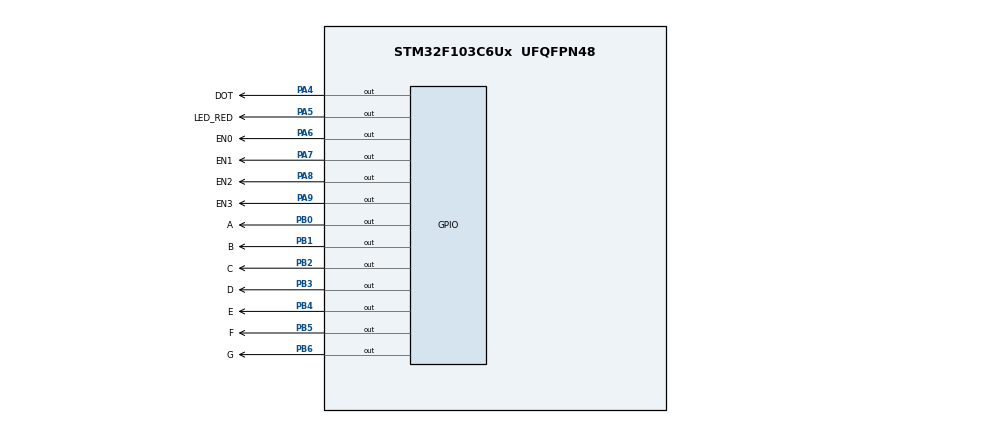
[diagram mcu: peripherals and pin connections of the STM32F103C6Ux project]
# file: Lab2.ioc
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Mcu.Family=STM32F1
Mcu.Name=STM32F103C6Ux
Mcu.Package=UFQFPN48
NVIC.PriorityGroup=NVIC_PRIORITYGROUP_4
NVIC.TIM2_IRQn=true\:0\:0\:false\:false\:true\:true\:true
PA4.GPIO_Label=DOT
PA4.Signal=GPIO_Output
PA5.GPIO_Label=LED_RED
PA5.Signal=GPIO_Output
PA6.GPIO_Label=EN0
PA6.Signal=GPIO_Output
PA7.GPIO_Label=EN1
PA7.Signal=GPIO_Output
PA8.GPIO_Label=EN2
PA8.Signal=GPIO_Output
PA9.GPIO_Label=EN3
PA9.Signal=GPIO_Output
PB0.GPIO_Label=A
PB0.Signal=GPIO_Output
PB1.GPIO_Label=B
PB1.Signal=GPIO_Output
PB2.GPIO_Label=C
PB2.Signal=GPIO_Output
PB3.GPIO_Label=D
PB3.Signal=GPIO_Output
PB4.GPIO_Label=E
PB4.Signal=GPIO_Output
PB5.GPIO_Label=F
PB5.Signal=GPIO_Output
PB6.GPIO_Label=G
PB6.Signal=GPIO_Output
ProjectManager.HeapSize=0x200
ProjectManager.StackSize=0x400
ProjectManager.TargetToolchain=STM32CubeIDE
RCC.APB1Freq_Value=8000000
RCC.APB2Freq_Value=8000000
TIM2.Period=9
TIM2.Prescaler=7999
VP_SYS_VS_ND.Mode=No_Debug
VP_TIM2_VS_ClockSourceINT.Mode=Internal
board=custom

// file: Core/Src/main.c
/* USER CODE BEGIN Header */
/**
  ******************************************************************************
  * @file           : main.c
  * @brief          : Main program body
  ******************************************************************************
  * @attention
  *
  * <h2><center>&copy; Copyright (c) 2022 STMicroelectronics.
  * All rights reserved.</center></h2>
  *
  * This software component is licensed by ST under BSD 3-Clause license,
  * the "License"; You may not use this file except in compliance with the
  * License. You may obtain a copy of the License at:
  *                        opensource.org/licenses/BSD-3-Clause
  *
  ******************************************************************************
  */
/* USER CODE END Header */
#include "main.h"
#include "software_timer.h"
#include "global.h"
#include "display7SEG.h"
#include "updateClockBuffer.h"

TIM_HandleTypeDef htim2;

void SystemClock_Config(void);
static void MX_GPIO_Init(void);
static void MX_TIM2_Init(void);

int main(void)
{

  /* MCU Configuration--------------------------------------------------------*/

  /* Reset of all peripherals, Initializes the Flash interface and the Systick. */
  HAL_Init();

  /* Configure the system clock */
  SystemClock_Config();

  /* Initialize all configured peripherals */
  MX_GPIO_Init();
  MX_TIM2_Init();
  /* USER CODE BEGIN 2 */
  HAL_TIM_Base_Start_IT(&htim2);

  /* USER CODE END 2 */

  /* Infinite loop */
  /* USER CODE BEGIN WHILE */
  setTimer1(25);
  setTimer2(100);
  setTimer3(100);
  updateClockBuffer();
  while (1)
  {
	  if(timer1_flag == 1)
	  {
		  turnOff7SEG();
		  if(index_led >= 4) index_led = 0;
		  update7SEG(index_led++);
		  setTimer1(25);
	  }

	  if(timer2_flag == 1)
	  {
		  HAL_GPIO_TogglePin(DOT_GPIO_Port, DOT_Pin);
		  setTimer2(100);
	  }

	  if(timer3_flag == 1) {
		  second++;
		  if(second >= 60)
		  {
			  second = 0;
			  minute++;
		  }
		  if(minute >= 60)
		  {
			  minute = 0;
			  hour++;
		  }
		  if(hour >= 24)
		  {
			  hour = 0;
		  }
		  updateClockBuffer();
		  setTimer3(100);
	  }
    /* USER CODE END WHILE */

  }
}

void SystemClock_Config(void)
{
  RCC_OscInitTypeDef RCC_OscInitStruct = {0};
  RCC_ClkInitTypeDef RCC_ClkInitStruct = {0};

  /** Initializes the RCC Oscillators according to the specified parameters
  * in the RCC_OscInitTypeDef structure.
  */
  RCC_OscInitStruct.OscillatorType = RCC_OSCILLATORTYPE_HSI;
  RCC_OscInitStruct.HSIState = RCC_HSI_ON;
  RCC_OscInitStruct.HSICalibrationValue = RCC_HSICALIBRATION_DEFAULT;
  RCC_OscInitStruct.PLL.PLLState = RCC_PLL_NONE;
  if (HAL_RCC_OscConfig(&RCC_OscInitStruct) != HAL_OK)
  {
    Error_Handler();
  }
  /** Initializes the CPU, AHB and APB buses clocks
  */
  RCC_ClkInitStruct.ClockType = RCC_CLOCKTYPE_HCLK|RCC_CLOCKTYPE_SYSCLK
                              |RCC_CLOCKTYPE_PCLK1|RCC_CLOCKTYPE_PCLK2;
  RCC_ClkInitStruct.SYSCLKSource = RCC_SYSCLKSOURCE_HSI;
  RCC_ClkInitStruct.AHBCLKDivider = RCC_SYSCLK_DIV1;
  RCC_ClkInitStruct.APB1CLKDivider = RCC_HCLK_DIV1;
  RCC_ClkInitStruct.APB2CLKDivider = RCC_HCLK_DIV1;

  if (HAL_RCC_ClockConfig(&RCC_ClkInitStruct, FLASH_LATENCY_0) != HAL_OK)
  {
    Error_Handler();
  }
}

static void MX_TIM2_Init(void)
{

  TIM_ClockConfigTypeDef sClockSourceConfig = {0};
  TIM_MasterConfigTypeDef sMasterConfig = {0};

  htim2.Instance = TIM2;
  htim2.Init.Prescaler = 7999;
  htim2.Init.CounterMode = TIM_COUNTERMODE_UP;
  htim2.Init.Period = 9;
  htim2.Init.ClockDivision = TIM_CLOCKDIVISION_DIV1;
  htim2.Init.AutoReloadPreload = TIM_AUTORELOAD_PRELOAD_DISABLE;
  if (HAL_TIM_Base_Init(&htim2) != HAL_OK)
  {
    Error_Handler();
  }
  sClockSourceConfig.ClockSource = TIM_CLOCKSOURCE_INTERNAL;
  if (HAL_TIM_ConfigClockSource(&htim2, &sClockSourceConfig) != HAL_OK)
  {
    Error_Handler();
  }
  sMasterConfig.MasterOutputTrigger = TIM_TRGO_RESET;
  sMasterConfig.MasterSlaveMode = TIM_MASTERSLAVEMODE_DISABLE;
  if (HAL_TIMEx_MasterConfigSynchronization(&htim2, &sMasterConfig) != HAL_OK)
  {
    Error_Handler();
  }

}

static void MX_GPIO_Init(void)
{
  GPIO_InitTypeDef GPIO_InitStruct = {0};

  /* GPIO Ports Clock Enable */
  __HAL_RCC_GPIOA_CLK_ENABLE();
  __HAL_RCC_GPIOB_CLK_ENABLE();

  /*Configure GPIO pin Output Level */
  HAL_GPIO_WritePin(GPIOA, DOT_Pin|LED_RED_Pin|EN0_Pin|EN1_Pin
                          |EN2_Pin|EN3_Pin, GPIO_PIN_RESET);

  /*Configure GPIO pin Output Level */
  HAL_GPIO_WritePin(GPIOB, A_Pin|B_Pin|C_Pin|D_Pin
                          |E_Pin|F_Pin|G_Pin, GPIO_PIN_RESET);

  /*Configure GPIO pins : DOT_Pin LED_RED_Pin EN0_Pin EN1_Pin
                           EN2_Pin EN3_Pin */
  GPIO_InitStruct.Pin = DOT_Pin|LED_RED_Pin|EN0_Pin|EN1_Pin
                          |EN2_Pin|EN3_Pin;
  GPIO_InitStruct.Mode = GPIO_MODE_OUTPUT_PP;
  GPIO_InitStruct.Pull = GPIO_NOPULL;
  GPIO_InitStruct.Speed = GPIO_SPEED_FREQ_LOW;
  HAL_GPIO_Init(GPIOA, &GPIO_InitStruct);

  /*Configure GPIO pins : A_Pin B_Pin C_Pin D_Pin
                           E_Pin F_Pin G_Pin */
  GPIO_InitStruct.Pin = A_Pin|B_Pin|C_Pin|D_Pin
                          |E_Pin|F_Pin|G_Pin;
  GPIO_InitStruct.Mode = GPIO_MODE_OUTPUT_PP;
  GPIO_InitStruct.Pull = GPIO_NOPULL;
  GPIO_InitStruct.Speed = GPIO_SPEED_FREQ_LOW;
  HAL_GPIO_Init(GPIOB, &GPIO_InitStruct);

}

/* USER CODE BEGIN 4 */
void HAL_TIM_PeriodElapsedCallback(TIM_HandleTypeDef *htim){
	timerRun();
}

/* USER CODE END 4 */

void Error_Handler(void)
{
  __disable_irq();
  while (1)
  {
  }
}

/************************ (C) COPYRIGHT STMicroelectronics *****END OF FILE****/
